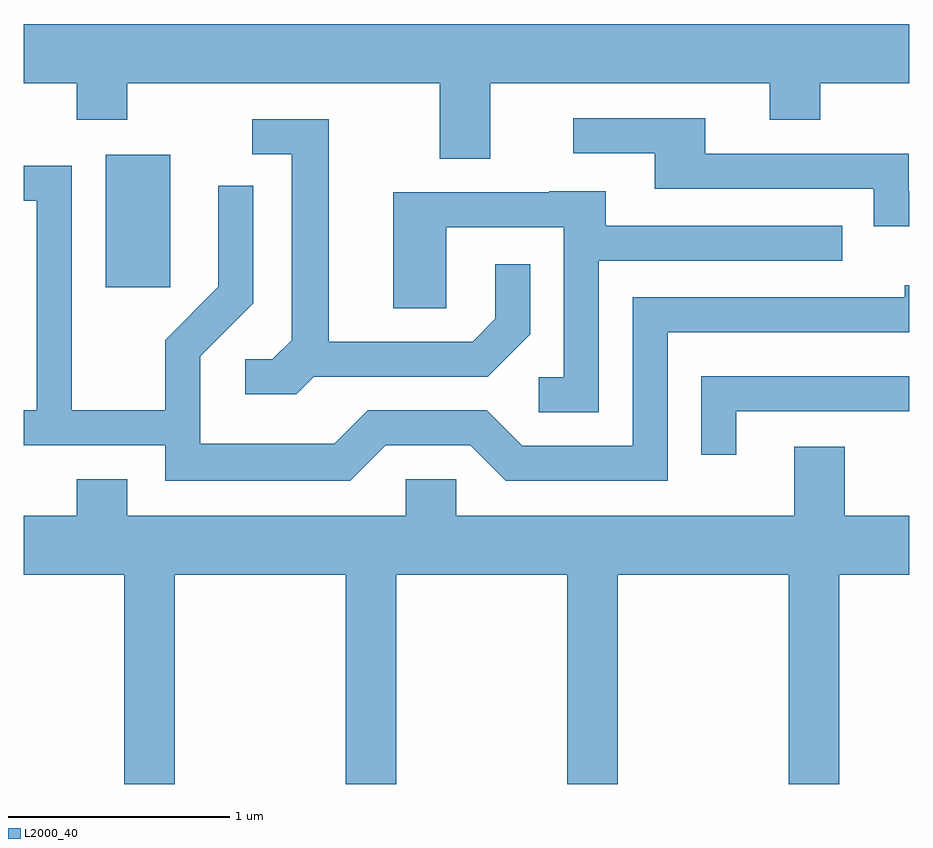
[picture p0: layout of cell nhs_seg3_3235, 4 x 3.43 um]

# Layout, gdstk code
import gdstk
lib = gdstk.Library(unit=1e-6, precision=1e-09)
def R(c, l, rs):  # rectangles x0, y0, x1, y1
    for r in rs: c.add(gdstk.rectangle(r[:2], r[2:], *l))
def P(c, l, *ps):  # polygons
    for p in ps: c.add(gdstk.Polygon(p, *l))
L2000_40 = (2000, 40)

nhs_seg3_3235 = lib.new_cell('nhs_seg3_3235')
R(nhs_seg3_3235, L2000_40, [(279.981,1196.136,280.274,1196.734)])
P(nhs_seg3_3235, L2000_40, [(281.719,1197.056),(282.981,1197.056),(282.981,1196.891),(283.209,1196.891),(283.209,1197.056),(283.611,1197.056),(283.611,1197.324),(279.611,1197.324),(279.611,1197.056),(279.851,1197.056),(279.851,1196.891),(280.079,1196.891),(280.079,1197.056),(281.491,1197.056),(281.491,1196.716),(281.719,1196.716)],
  [(283.611,1196.569),(283.609,1196.569),(283.609,1196.739),(282.689,1196.739),(282.689,1196.899),(282.093,1196.899),(282.093,1196.741),(282.461,1196.741),(282.461,1196.581),(283.451,1196.581),(283.451,1196.411),(283.611,1196.411)],
  [(280.922,1195.731),(281.707,1195.731),(281.899,1195.924),(281.899,1196.238),(281.741,1196.238),(281.741,1195.992),(281.639,1195.889),(280.989,1195.889),(280.989,1196.894),(280.643,1196.894),(280.643,1196.736),(280.821,1196.736),(280.821,1195.897),(280.734,1195.809),(280.613,1195.809),(280.613,1195.651),(280.842,1195.651)],
  [(281.247,1195.421),(281.629,1195.421),(281.789,1195.261),(282.519,1195.261),(282.519,1195.931),(283.611,1195.931),(283.611,1196.144),(283.591,1196.144),(283.591,1196.089),(282.361,1196.089),(282.361,1195.419),(281.862,1195.419),(281.702,1195.579),(281.164,1195.579),(281.014,1195.429),(280.409,1195.429),(280.409,1195.824),(280.649,1196.064),(280.649,1196.593),(280.491,1196.593),(280.491,1196.137),(280.251,1195.897),(280.251,1195.579),(279.829,1195.579),(279.829,1196.684),(279.611,1196.684),(279.611,1196.526),(279.671,1196.526),(279.671,1195.579),(279.611,1195.579),(279.611,1195.421),(280.251,1195.421),(280.251,1195.261),(281.087,1195.261)],
  [(282.209,1196.256),(283.308,1196.256),(283.308,1196.414),(282.239,1196.414),(282.239,1196.569),(281.985,1196.569),(281.985,1196.564),(281.281,1196.564),(281.281,1196.041),(281.519,1196.041),(281.519,1196.406),(282.051,1196.406),(282.051,1195.729),(281.938,1195.729),(281.938,1195.571),(282.209,1195.571)],
  [(282.829,1195.576),(283.611,1195.576),(283.611,1195.734),(282.671,1195.734),(282.671,1195.378),(282.829,1195.378)],
  [(280.294,1194.836),(281.066,1194.836),(281.066,1193.892),(281.294,1193.892),(281.294,1194.836),(282.066,1194.836),(282.066,1193.892),(282.294,1193.892),(282.294,1194.836),(283.066,1194.836),(283.066,1193.892),(283.294,1193.892),(283.294,1194.836),(283.611,1194.836),(283.611,1195.104),(283.319,1195.104),(283.319,1195.414),(283.091,1195.414),(283.091,1195.104),(281.564,1195.104),(281.564,1195.269),(281.336,1195.269),(281.336,1195.104),(280.079,1195.104),(280.079,1195.269),(279.851,1195.269),(279.851,1195.104),(279.611,1195.104),(279.611,1194.836),(280.066,1194.836),(280.066,1193.892),(280.294,1193.892)])

lib.write_gds('nhs_seg3_3235.gds')
